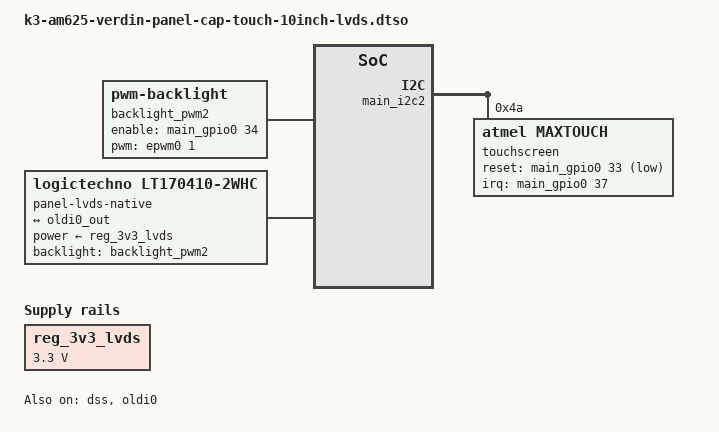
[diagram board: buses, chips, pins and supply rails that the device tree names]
// SPDX-License-Identifier: GPL-2.0-or-later OR MIT
/*
 * Copyright (c) Toradex
 *
 * Toradex Capacitive Touch Display 10.1" connected via Verdin AM62 OLDI
 * on carrier boards with a Toradex standard LVDS display connector
 * (e.g., Mallow).
 *
 * https://developer.toradex.com/hardware/accessories/displays/capacitive-touch-display-101inch-lvds
 * https://www.toradex.com/accessories/capacitive-touch-display-10.1-inch-lvds
 */

/dts-v1/;
/plugin/;

#include <dt-bindings/gpio/gpio.h>
#include <dt-bindings/interrupt-controller/irq.h>
#include <dt-bindings/pwm/pwm.h>
#include "k3-pinctrl.h"

&{/} {
	backlight_pwm2: backlight-pwm2 {
		compatible = "pwm-backlight";
		pinctrl-names = "default";
		pinctrl-0 = <&pinctrl_i2s_2_d_out_gpio>;
		brightness-levels = <0 45 63 88 119 158 203 255>;
		default-brightness-level = <4>;
		/* Verdin I2S_2_D_OUT as GPIO (SODIMM 46) */
		enable-gpios = <&main_gpio0 34 GPIO_ACTIVE_HIGH>;
		/* Verdin PWM_2 (SODIMM 16) */
		pwms = <&epwm0 1 6666667 PWM_POLARITY_INVERTED>;
	};

	panel-lvds-native {
		compatible = "logictechno,lt170410-2whc";
		backlight = <&backlight_pwm2>;
		power-supply = <&reg_3v3_lvds>;

		port {
			panel_lvds_native_in: endpoint {
				remote-endpoint = <&oldi0_out>;
			};
		};
	};

	reg_3v3_lvds: regulator-3v3-lvds {
		compatible = "regulator-fixed";
		regulator-max-microvolt = <3300000>;
		regulator-min-microvolt = <3300000>;
		regulator-name = "+V3.3_LVDS";
	};
};

&dss {
	status = "okay";
};

&dss_ports {
	#address-cells = <1>;
	#size-cells = <0>;

	/* DSS VP1: internal DPI output to OLDIx */
	port@0 {
		reg = <0>;

		dss0_out: endpoint {
			remote-endpoint = <&oldi0_in>;
		};
	};
};

/* Verdin I2C_2_DSI */
&main_i2c2 {
	#address-cells = <1>;
	#size-cells = <0>;

	touchscreen@4a {
		compatible = "atmel,maxtouch";
		reg = <0x4a>;
		pinctrl-names = "default";
		pinctrl-0 = <&pinctrl_i2s_2_d_in_gpio>, <&pinctrl_i2s_2_sync_gpio>;
		/* Verdin I2S_2_SYNC as GPIO (SODIMM 44) */
		interrupt-parent = <&main_gpio0>;
		interrupts = <37 IRQ_TYPE_EDGE_FALLING>;
		/* Verdin I2S_2_D_IN as GPIO (SODIMM 48) */
		reset-gpios = <&main_gpio0 33 GPIO_ACTIVE_LOW>;
	};
};

&main_pmx0 {
	/* Mallow Touch RST */
	pinctrl_i2s_2_d_in_gpio: main-gpio0-33-default-pins {
		pinctrl-single,pins = <
			AM62X_IOPAD(0x0088, PIN_INPUT, 7) /* (L24) GPMC0_OEn_REn.GPIO0_33 */ /* SODIMM 48 */
		>;
	};

	/* Mallow Touch INT# */
	pinctrl_i2s_2_sync_gpio: main-gpio0-37-default-pins {
		pinctrl-single,pins = <
			AM62X_IOPAD(0x0098, PIN_INPUT, 7) /* (U23) GPMC0_WAIT0.GPIO0_37 */ /* SODIMM 44 */
		>;
	};
};

&oldi0 {
	status = "okay";
};

&oldi0_port0 {
	oldi0_in: endpoint {
		remote-endpoint = <&dss0_out>;
	};
};

&oldi0_port1 {
	oldi0_out: endpoint {
		remote-endpoint = <&panel_lvds_native_in>;
	};
};
